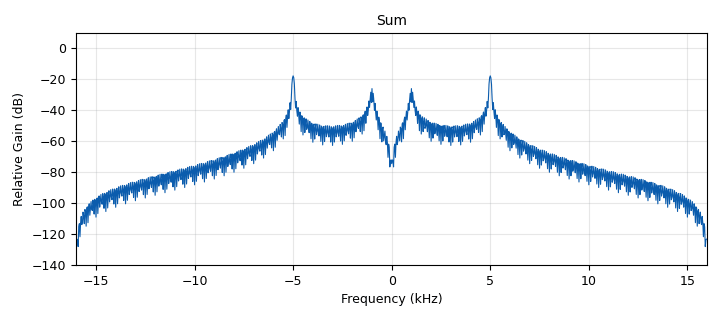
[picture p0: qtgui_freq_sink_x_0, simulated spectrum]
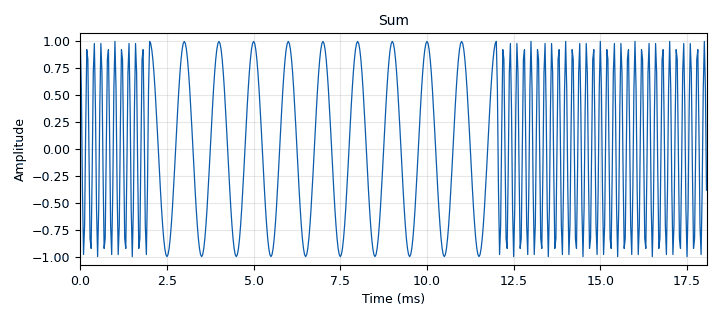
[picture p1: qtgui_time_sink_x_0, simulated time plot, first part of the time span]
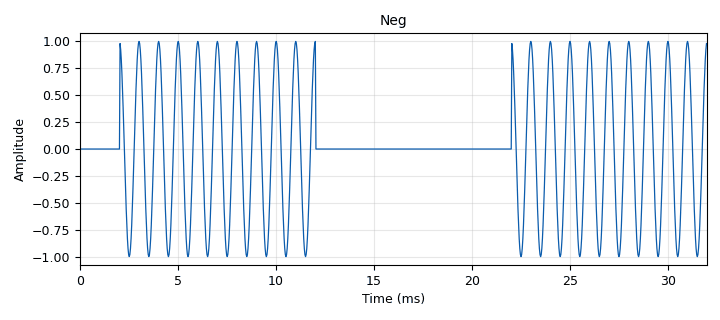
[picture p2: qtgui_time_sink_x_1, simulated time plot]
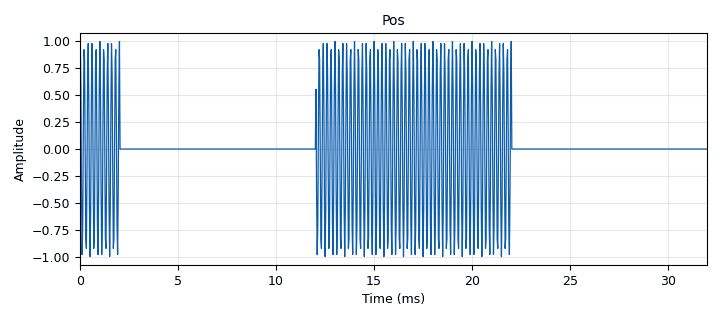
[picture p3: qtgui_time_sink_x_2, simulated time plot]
options:
  parameters:
    author: Emman Estallo
    generate_options: qt_gui
    id: simFSK
    output_language: python
    title: FrequencyShiftKeying
  states: {}

blocks:
- name: samp_rate
  id: variable
  parameters:
    value: '32000'
  states: {}
- name: analog_sig_source_x_0
  id: analog_sig_source_x
  parameters:
    amp: '1'
    freq: '1000'
    offset: '0'
    phase: '0'
    samp_rate: samp_rate
    type: float
    waveform: analog.GR_COS_WAVE
  states: {}
- name: analog_sig_source_x_1
  id: analog_sig_source_x
  parameters:
    amp: '-1'
    freq: '50'
    offset: '1'
    phase: '0'
    samp_rate: samp_rate
    type: float
    waveform: analog.GR_SQR_WAVE
  states: {}
- name: analog_sig_source_x_2
  id: analog_sig_source_x
  parameters:
    amp: '1'
    freq: '5000'
    offset: '0'
    phase: '0'
    samp_rate: samp_rate
    type: float
    waveform: analog.GR_COS_WAVE
  states: {}
- name: analog_sig_source_x_3
  id: analog_sig_source_x
  parameters:
    amp: '1'
    freq: '50'
    offset: '0'
    phase: '0'
    samp_rate: samp_rate
    type: float
    waveform: analog.GR_SQR_WAVE
  states: {}
- name: blocks_add_xx_0
  id: blocks_add_xx
  parameters:
    type: float
  states: {}
- name: blocks_multiply_xx_0
  id: blocks_multiply_xx
  parameters:
    type: float
  states: {}
- name: blocks_multiply_xx_0_0
  id: blocks_multiply_xx
  parameters:
    type: float
  states: {}
- name: blocks_throttle_0
  id: blocks_throttle
  parameters:
    samples_per_second: samp_rate
    type: float
  states: {}
- name: qtgui_freq_sink_x_0
  id: qtgui_freq_sink_x
  parameters:
    bw: samp_rate
    fc: '0'
    fftsize: '1024'
    name: Sum
    type: float
    wintype: firdes.WIN_BLACKMAN_hARRIS
  states: {}
- name: qtgui_time_sink_x_0
  id: qtgui_time_sink_x
  parameters:
    name: Sum
    size: '1024'
    srate: samp_rate
    type: float
  states: {}
- name: qtgui_time_sink_x_1
  id: qtgui_time_sink_x
  parameters:
    name: Neg
    size: '1024'
    srate: samp_rate
    type: float
  states: {}
- name: qtgui_time_sink_x_2
  id: qtgui_time_sink_x
  parameters:
    name: Pos
    size: '1024'
    srate: samp_rate
    type: float
  states: {}

connections:
- [analog_sig_source_x_0, '0', blocks_multiply_xx_0_0, '0']
- [analog_sig_source_x_1, '0', blocks_multiply_xx_0_0, '1']
- [analog_sig_source_x_2, '0', blocks_multiply_xx_0, '0']
- [analog_sig_source_x_3, '0', blocks_multiply_xx_0, '1']
- [blocks_add_xx_0, '0', blocks_throttle_0, '0']
- [blocks_multiply_xx_0, '0', blocks_add_xx_0, '1']
- [blocks_multiply_xx_0, '0', qtgui_time_sink_x_2, '0']
- [blocks_multiply_xx_0_0, '0', blocks_add_xx_0, '0']
- [blocks_multiply_xx_0_0, '0', qtgui_time_sink_x_1, '0']
- [blocks_throttle_0, '0', qtgui_freq_sink_x_0, '0']
- [blocks_throttle_0, '0', qtgui_time_sink_x_0, '0']

metadata:
  file_format: 1
